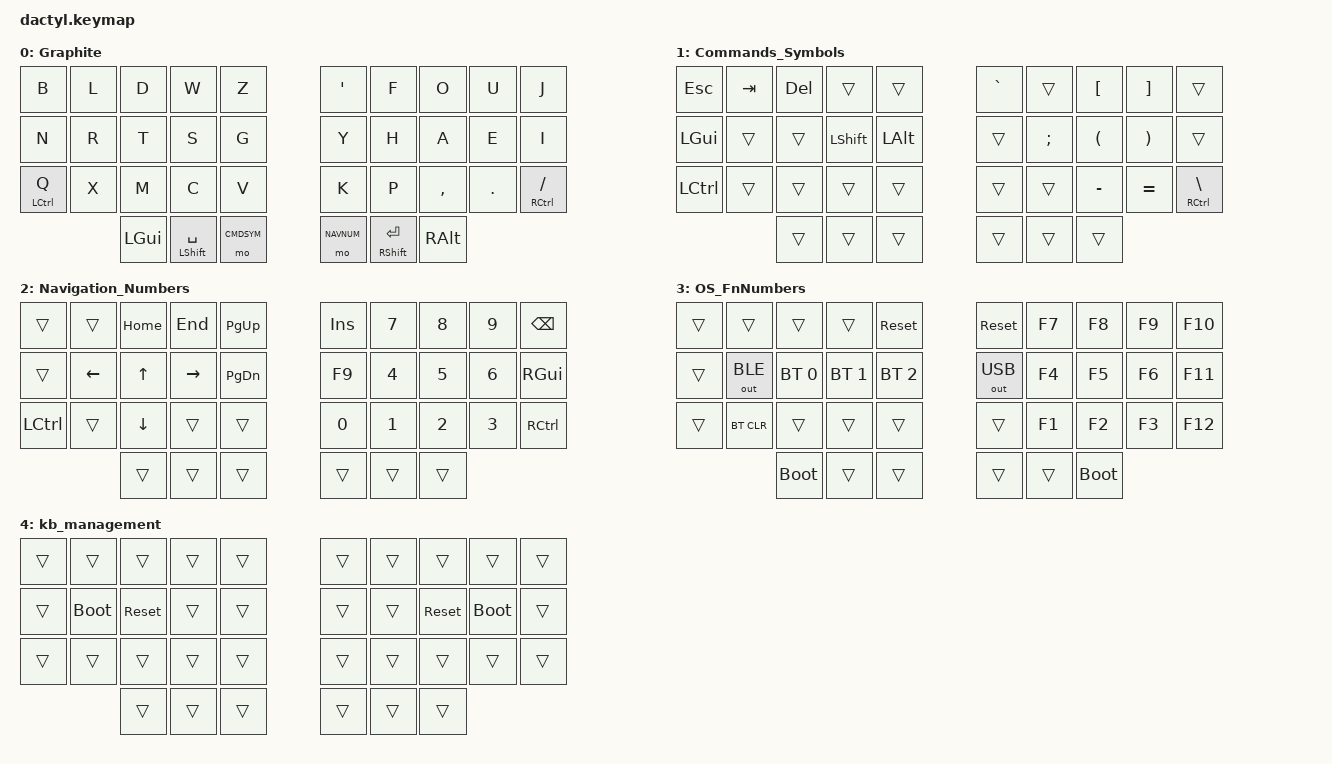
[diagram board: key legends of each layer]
/*
 * Copyright (c) 2020 The ZMK Contributors
 *
 * SPDX-License-Identifier: MIT
 */

#include <behaviors.dtsi>
#include <dt-bindings/zmk/bt.h>
#include <dt-bindings/zmk/keys.h>
#include <dt-bindings/zmk/outputs.h>

#define CMDSYM 1
#define NAVNUM 2
#define OSFNUM 3

&mt { flavor = "balanced"; };

/ {
    behaviors {
        pht: pinky_hold_tap {
            compatible = "zmk,behavior-hold-tap";
            #binding-cells = <2>;
            flavor = "balanced";
            tapping-term-ms = <200>;
            require-prior-idle-ms = <150>;
            quick-tap-ms = <175>;
            bindings = <&kp>, <&kp>;
        };
    };

    combos {
        compatible = "zmk,combos";

        okaies_combo {
            bindings = <&okaies>;
            key-positions = <7 25>;
            layers = <0>;
        };

        lgtm_combo {
            bindings = <&lgtm_macro>;
            key-positions = <1 14>;
            layers = <0>;
        };

        lambda_macro {
            bindings = <&lambda_macro>;
            key-positions = <0 1 2>;
            layers = <0>;
        };

        gui_ctrl_left {
            bindings = <&kp LG(LC(LEFT))>;
            key-positions = <11 20 30>;
            layers = <0>;
        };

        gui_ctrl_right {
            bindings = <&kp LG(LC(RIGHT))>;
            key-positions = <20 30 13>;
            layers = <0>;
        };

        arrow_func_combo {
            bindings = <&arrow_func>;
            key-positions = <17 18>;
            layers = <1>;
        };

        ctrl_left {
            bindings = <&kp LC(LEFT)>;
            key-positions = <11 20>;
            layers = <0>;
        };

        ctrl_right {
            bindings = <&kp LC(RIGHT)>;
            key-positions = <13 20>;
            layers = <0>;
        };

        apps_combo {
            bindings = <&apps_macro>;
            key-positions = <13 17 26>;
            layers = <0>;
        };

        bootloader_left {
            bindings = <&bootloader>;
            key-positions = <0 4 20>;
        };

        bootloader_right {
            bindings = <&bootloader>;
            key-positions = <5 9 29>;
        };
    };

    macros {
        okaies: okaies {
            compatible = "zmk,behavior-macro";
            #binding-cells = <0>;
            bindings = <&kp LS(O) &kp K &kp A &kp I &kp E &kp S>;
        };

        lgtm_macro: lgtm_macro {
            compatible = "zmk,behavior-macro";
            #binding-cells = <0>;
            bindings = <&kp LS(L) &kp LS(G) &kp LS(T) &kp LS(M)>;
        };

        lambda_macro: lambda_macro {
            compatible = "zmk,behavior-macro";
            #binding-cells = <0>;
            bindings = <&kp L &kp A &kp M &kp B &kp D &kp A>;
        };

        arrow_func: arrow_func {
            compatible = "zmk,behavior-macro";
            #binding-cells = <0>;
            bindings = <&kp LPAR &kp RPAR &kp SPACE &kp EQUAL &kp GT &kp SPACE>;
        };

        apps_macro: apps_macro {
            compatible = "zmk,behavior-macro";
            #binding-cells = <0>;
            bindings = <&kp LS(A) &kp LS(P) &kp LS(P) &kp LS(S) &kp MINUS>;
            label = "APPS_MACRO";
        };
    };

    keymap {
        compatible = "zmk,keymap";

        Graphite {
            bindings = <
&kp B         &kp L  &kp D     &kp W            &kp Z         &kp SINGLE_QUOTE  &kp F            &kp O      &kp U    &kp J
&kp N         &kp R  &kp T     &kp S            &kp G         &kp Y             &kp H            &kp A      &kp E    &kp I
&pht LCTRL Q  &kp X  &kp M     &kp C            &kp V         &kp K             &kp P            &kp COMMA  &kp DOT  &pht RCTRL FSLH
                     &kp LGUI  &mt LSHFT SPACE  &mo CMDSYM    &mo NAVNUM        &mt RSHFT ENTER  &kp RALT
            >;
        };

        Commands_Symbols {
            bindings = <
&kp ESCAPE  &kp TAB  &kp DEL  &trans     &trans      &kp GRAVE  &trans    &kp LBKT   &kp RBKT   &trans
&kp LGUI    &trans   &trans   &kp LSHFT  &kp LALT    &trans     &kp SEMI  &kp LPAR   &kp RPAR   &trans
&kp LCTRL   &trans   &trans   &trans     &trans      &trans     &trans    &kp MINUS  &kp EQUAL  &pht RCTRL BSLH
                     &trans   &trans     &trans      &trans     &trans    &trans
            >;
        };

        Navigation_Numbers {
            bindings = <
&trans     &trans    &kp HOME  &kp END    &kp PG_UP    &kp INS  &kp N7  &kp N8  &kp N9  &kp BSPC
&trans     &kp LEFT  &kp UP    &kp RIGHT  &kp PG_DN    &kp F9   &kp N4  &kp N5  &kp N6  &kp RGUI
&kp LCTRL  &trans    &kp DOWN  &trans     &trans       &kp N0   &kp N1  &kp N2  &kp N3  &kp RCTRL
                     &trans    &trans     &trans       &trans   &trans  &trans
            >;
        };

        OS_FnNumbers {
            bindings = <
&trans  &trans        &trans        &trans        &sys_reset      &sys_reset    &kp F7  &kp F8       &kp F9  &kp F10
&trans  &out OUT_BLE  &bt BT_SEL 0  &bt BT_SEL 1  &bt BT_SEL 2    &out OUT_USB  &kp F4  &kp F5       &kp F6  &kp F11
&trans  &bt BT_CLR    &trans        &trans        &trans          &trans        &kp F1  &kp F2       &kp F3  &kp F12
                      &bootloader   &trans        &trans          &trans        &trans  &bootloader
            >;
        };

        kb_management {
            bindings = <
&trans  &trans       &trans      &trans  &trans    &trans  &trans  &trans      &trans       &trans
&trans  &bootloader  &sys_reset  &trans  &trans    &trans  &trans  &sys_reset  &bootloader  &trans
&trans  &trans       &trans      &trans  &trans    &trans  &trans  &trans      &trans       &trans
                     &trans      &trans  &trans    &trans  &trans  &trans
            >;
        };
    };

    conditional_layers {
        compatible = "zmk,conditional-layers";

        osfnum {
            if-layers = <1 2>;
            then-layer = <3>;
        };
    };
};
